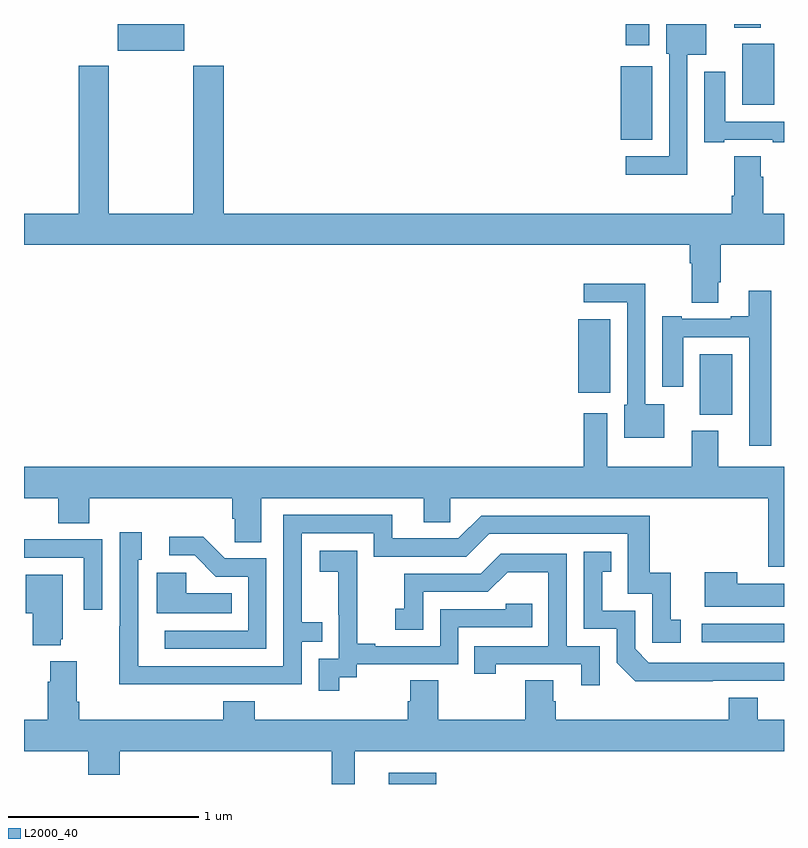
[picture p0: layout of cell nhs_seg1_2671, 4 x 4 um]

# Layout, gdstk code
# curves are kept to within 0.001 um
import gdstk
lib = gdstk.Library(unit=1e-6, precision=1e-09)
def R(c, l, rs):  # rectangles x0, y0, x1, y1
    for r in rs: c.add(gdstk.rectangle(r[:2], r[2:], *l))
def P(c, l, *ps):  # polygons
    for p in ps: c.add(gdstk.Polygon(p, *l))
L2000_40 = (2000, 40)

nhs_seg1_2671 = lib.new_cell('nhs_seg1_2671')
R(nhs_seg1_2671, L2000_40, [(256.919,578.199,257.17,578.257), (258.567,578.946,259,579.042), (258.557,580.142,258.727,580.462), (257.918,580.259,258.085,580.645), (258.14,581.591,258.307,581.977), (258.779,581.774,258.949,582.094), (255.494,582.059,255.844,582.199), (258.166,582.087,258.292,582.199), (258.737,582.179,258.877,582.199)])
P(nhs_seg1_2671, L2000_40, [(258.492,582.038),(258.592,582.038),(258.592,582.199),(258.38,582.199),(258.38,582.042),(258.396,582.042),(258.396,581.502),(258.168,581.502),(258.168,581.405),(258.492,581.405)],
  [(258.655,580.84),(258.668,580.84),(258.668,581.036),(259,581.036),(259,581.2),(258.89,581.2),(258.89,581.396),(258.877,581.396),(258.877,581.504),(258.737,581.504),(258.737,581.296),(258.725,581.296),(258.725,581.2),(256.052,581.2),(256.052,581.98),(255.892,581.98),(255.892,581.2),(255.447,581.2),(255.447,581.98),(255.287,581.98),(255.287,581.2),(255,581.2),(255,581.036),(258.503,581.036),(258.503,580.94),(258.515,580.94),(258.515,580.732),(258.655,580.732)],
  [(258.685,581.589),(258.941,581.589),(258.941,581.577),(259,581.577),(259,581.685),(258.691,581.685),(258.691,581.947),(258.581,581.947),(258.581,581.577),(258.685,581.577)],
  [(258.37,580.198),(258.27,580.198),(258.27,580.832),(257.946,580.832),(257.946,580.734),(258.174,580.734),(258.174,580.194),(258.158,580.194),(258.158,580.022),(258.37,580.022)],
  [(258.932,580.795),(258.815,580.795),(258.815,580.66),(258.719,580.66),(258.719,580.647),(258.463,580.647),(258.463,580.66),(258.359,580.66),(258.359,580.29),(258.469,580.29),(258.469,580.551),(258.816,580.551),(258.816,579.978),(258.932,579.978)],
  [(259,579.868),(258.655,579.868),(258.655,580.057),(258.515,580.057),(258.515,579.868),(258.07,579.868),(258.07,580.15),(257.945,580.15),(257.945,579.868),(255,579.868),(255,579.704),(255.179,579.704),(255.179,579.571),(255.344,579.571),(255.344,579.704),(256.097,579.704),(256.097,579.595),(256.11,579.595),(256.11,579.472),(256.249,579.472),(256.249,579.704),(257.105,579.704),(257.105,579.577),(257.244,579.577),(257.244,579.704),(258.916,579.704),(258.916,579.342),(259,579.342)],
  [(255.965,578.724),(256.461,578.724),(256.461,578.949),(256.571,578.949),(256.571,579.05),(256.461,579.05),(256.461,579.519),(256.842,579.519),(256.842,579.396),(257.328,579.396),(257.448,579.516),(258.177,579.516),(258.177,579.201),(258.306,579.201),(258.306,578.943),(258.457,578.943),(258.457,579.063),(258.404,579.063),(258.404,579.31),(258.293,579.31),(258.293,579.612),(257.406,579.612),(257.286,579.492),(256.939,579.492),(256.939,579.615),(256.365,579.615),(256.365,578.82),(255.601,578.82),(255.6,579.378),(255.619,579.378),(255.619,579.523),(255.504,579.523),(255.504,579.029),(255.502,579.029),(255.502,578.723)],
  [(256.275,579.387),(256.056,579.387),(255.943,579.5),(255.765,579.5),(255.765,579.402),(255.899,579.402),(256.01,579.291),(256.179,579.291),(256.179,579.006),(255.741,579.006),(255.741,578.91),(256.275,578.91)],
  [(255.411,579.486),(255.095,579.486),(255.095,579.488),(255,579.488),(255,579.39),(255.315,579.39),(255.315,579.117),(255.411,579.117)],
  [(256.66,578.761),(256.752,578.761),(256.752,578.829),(257.286,578.829),(257.286,579.024),(257.675,579.024),(257.675,579.147),(257.535,579.147),(257.535,579.12),(257.19,579.12),(257.19,578.925),(256.849,578.925),(256.849,578.938),(256.754,578.938),(256.754,579.221),(256.755,579.221),(256.755,579.427),(256.557,579.427),(256.557,579.317),(256.654,579.317),(256.654,579.089),(256.656,579.089),(256.656,578.859),(256.551,578.859),(256.551,578.691),(256.66,578.691)],
  [(258.626,578.742),(259,578.742),(259,578.838),(258.288,578.838),(258.216,578.91),(258.216,579.111),(258.043,579.111),(258.043,579.315),(258.092,579.315),(258.092,579.421),(257.946,579.421),(257.946,579.015),(258.12,579.015),(258.12,578.838),(258.218,578.741)],
  [(258.03,578.925),(257.856,578.925),(257.856,579.411),(257.51,579.411),(257.405,579.306),(257.002,579.306),(257.002,579.121),(256.953,579.121),(256.953,579.012),(257.1,579.012),(257.1,579.21),(257.442,579.21),(257.546,579.314),(257.76,579.314),(257.76,578.925),(257.371,578.925),(257.371,578.778),(257.482,578.778),(257.482,578.829),(257.933,578.829),(257.933,578.718),(258.03,578.718)],
  [(259,579.253),(258.755,579.253),(258.755,579.313),(258.584,579.313),(258.584,579.131),(259,579.131)],
  [(256.094,579.202),(255.855,579.202),(255.855,579.31),(255.698,579.31),(255.698,579.098),(256.094,579.098)],
  [(255.194,578.961),(255.205,578.961),(255.205,579.301),(255.008,579.301),(255.008,579.098),(255.047,579.098),(255.047,578.93),(255.194,578.93)],
  [(256.741,578.372),(259,578.372),(259,578.536),(258.862,578.536),(258.862,578.653),(258.71,578.653),(258.71,578.536),(257.798,578.536),(257.798,578.634),(257.785,578.634),(257.785,578.744),(257.638,578.744),(257.638,578.536),(257.181,578.536),(257.181,578.744),(257.033,578.744),(257.033,578.634),(257.021,578.634),(257.021,578.536),(256.214,578.536),(256.214,578.635),(256.049,578.635),(256.049,578.536),(255.29,578.536),(255.29,578.632),(255.277,578.632),(255.277,578.845),(255.137,578.845),(255.137,578.738),(255.125,578.738),(255.125,578.536),(255,578.536),(255,578.372),(255.338,578.372),(255.338,578.248),(255.503,578.248),(255.503,578.372),(256.62,578.372),(256.62,578.199),(256.741,578.199)])

lib.write_gds('nhs_seg1_2671.gds')
